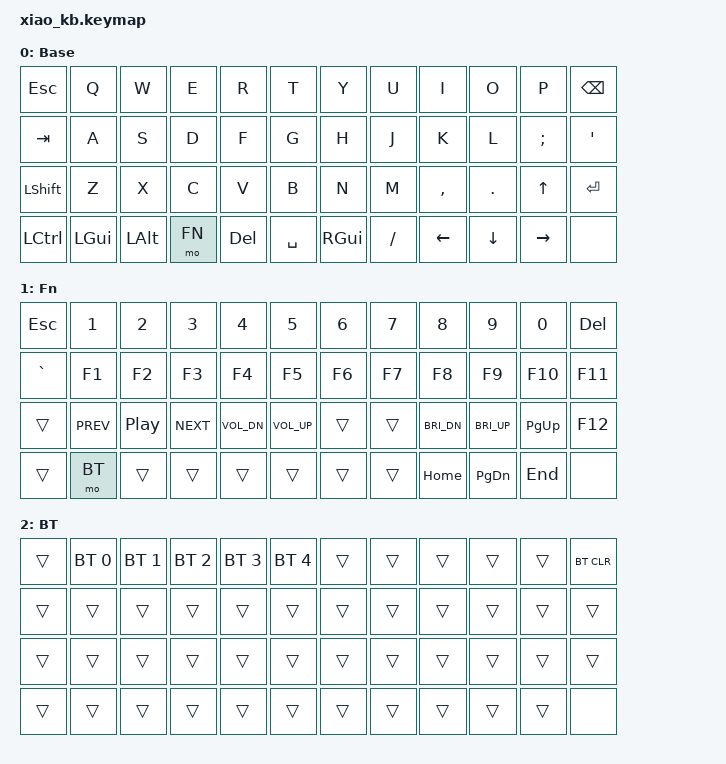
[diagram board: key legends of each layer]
#include <behaviors.dtsi>
#include <dt-bindings/zmk/keys.h>
#include <dt-bindings/zmk/bt.h>

#define BASE 0
#define FN 1
#define BT 2

/ {
    behaviors {
        hm: homerow_mod {
            compatible = "zmk,behavior-hold-tap";
            #binding-cells = <2>;
            tapping-term-ms = <200>;
            quick-tap-ms = <0>;
            flavor = "tap-preferred";
            bindings = <&kp>, <&kp>;
        };
    };

    keymap {
        compatible = "zmk,keymap";

        base_layer {
            label = "Base";
            bindings = <
                &kp ESC &kp Q &kp W &kp E &kp R &kp T &kp Y &kp U &kp I &kp O &kp P &kp BSPC

                &kp TAB &kp A &kp S &kp D &kp F &kp G &kp H &kp J &kp K &kp L &kp SEMI &kp SQT

                &kp LSHFT &kp Z &kp X &kp C &kp V &kp B &kp N &kp M &kp COMMA &kp DOT &kp UP &kp RET

                &kp LCTRL &kp LGUI &kp LALT &mo FN &kp DEL &kp SPACE &kp RGUI &kp FSLH &kp LEFT &kp DOWN &kp RIGHT &none
            >;
        };

        fn_layer {
            label = "Fn";
            bindings = <
            &kp ESC &kp N1 &kp N2 &kp N3 &kp N4 &kp N5 &kp N6 &kp N7 &kp N8 &kp N9 &kp N0 &kp DEL

            &kp GRAVE &kp F1 &kp F2 &kp F3 &kp F4 &kp F5 &kp F6 &kp F7 &kp F8 &kp F9 &kp F10 &kp F11

            &trans &kp C_PREV &kp C_PP &kp C_NEXT &kp C_VOL_DN &kp C_VOL_UP &trans &trans &kp C_BRI_DN &kp C_BRI_UP &kp PG_UP &kp F12

            &trans &mo BT &trans &trans &trans &trans &trans &trans &kp HOME &kp PG_DN &kp END &none
            >;
        };

        bt_layer {
            label = "BT";
            bindings = <
            &trans &bt BT_SEL 0 &bt BT_SEL 1 &bt BT_SEL 2 &bt BT_SEL 3 &bt BT_SEL 4 &trans &trans &trans &trans &trans &bt BT_CLR

            &trans &trans &trans &trans &trans &trans &trans &trans &trans &trans &trans &trans

            &trans &trans &trans &trans &trans &trans &trans &trans &trans &trans &trans &trans

            &trans &trans &trans &trans &trans &trans &trans &trans &trans &trans &trans &none
            >;
        };
    };
};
